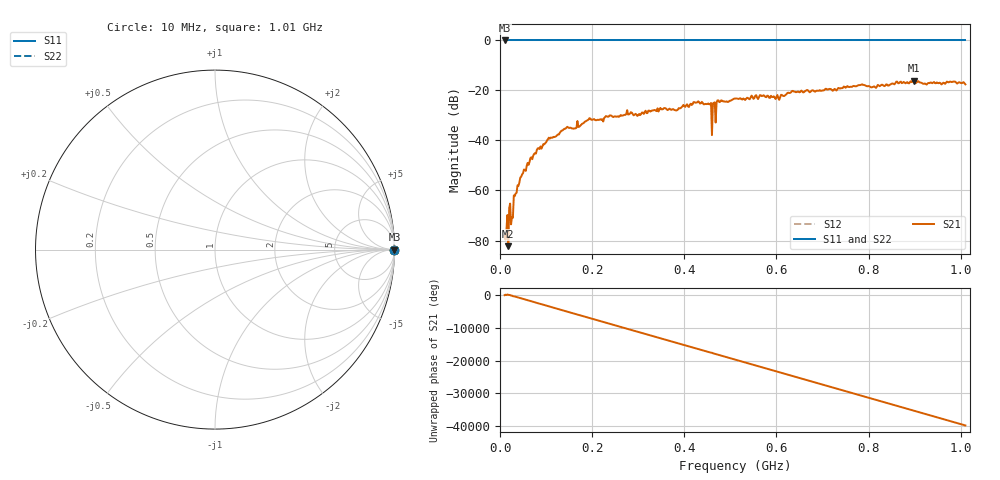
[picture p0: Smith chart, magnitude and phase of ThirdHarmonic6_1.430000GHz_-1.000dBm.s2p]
! 8/16/2025 4:29:22 PM
! C:\ANRITSUVNA\TEMP\TEMP.S2P
! CHANNEL.1
! TR.MEASUREMENT
! RAW.DATA
! RF.CORRECTION.OFF
! AVERAGING.OFF
! IF.BANDWIDTH: 5KHZ
! SWEEPTYPE:  FREQ.SWEEP(Linear)
! Reference Plane Port Info
! PORT:  PORT1  PORT2
! DISTANCE:  0  m  0  m
! TIME:  0  s  0  s
! PHASE.OFFSET:  0  deg.  0  deg.
! LOSS:  0  dB  0  dB
! REF.LOSS:  0  dB  0  dB
! REF.FREQ:  0  Hz  0  Hz
! Power Info
! POWER:  -20  dBm  -20  dBm
! EFF.POWER:  -20  dBm  -20  dBm
! SOURCE.ATTEN:  0  dB  0  dB
! TEST.ATTEN:  0  dB  0  dB
# GHZ S RI R 50.0
! FREQ.GHZ  S11RE  S11IM  S21RE  S21IM  S12RE  S12IM  S22RE  S22IM
!; PortSelection: Port_12
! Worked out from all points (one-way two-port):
!   501 points, 10 MHz to 1.01 GHz, reference 50 ohm
!   highest |S21| = -16.05 dB at 898 MHz (marker M1); lowest = -82.3 dB at 18 MHz (marker M2)
!   lowest |S11| = 0.0 dB at 10 MHz (marker M3)
!   |S11| at or under -10 dB: nowhere
!   |S22| runs from 0.0 to 0.0 dB; largest |S21 - S12| = 1.1
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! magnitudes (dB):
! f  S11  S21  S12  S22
! 10 MHz  0.0  -78.2  0.0  0.0
! 14 MHz  0.0  -75.6  0.0  0.0
! 18 MHz  0.0  -82.3  0.0  0.0
! 28 MHz  0.0  -70.9  0.0  0.0
! 34 MHz  0.0  -61.2  0.0  0.0
! 48 MHz  0.0  -53.6  0.0  0.0
! 78 MHz  0.0  -45.2  0.0  0.0
! 142 MHz  0.0  -35.3  0.0  0.0
! 178 MHz  0.0  -33.4  0.0  0.0
! 194 MHz  0.0  -31.1  0.0  0.0
! 344 MHz  0.0  -28.4  0.0  0.0
! 434 MHz  0.0  -25.2  0.0  0.0
! 454 MHz  0.0  -25.5  0.0  0.0
! 456 MHz  0.0  -25.6  0.0  0.0
! 464 MHz  0.0  -25.0  0.0  0.0
! 466 MHz  0.0  -24.7  0.0  0.0
! 474 MHz  0.0  -24.0  0.0  0.0
! 510 MHz  0.0  -23.2  0.0  0.0
! 678 MHz  0.0  -19.9  0.0  0.0
! 844 MHz  0.0  -18.0  0.0  0.0
! 898 MHz  0.0  -16.1  0.0  0.0
! 1.01 GHz  0.0  -17.6  0.0  0.0
